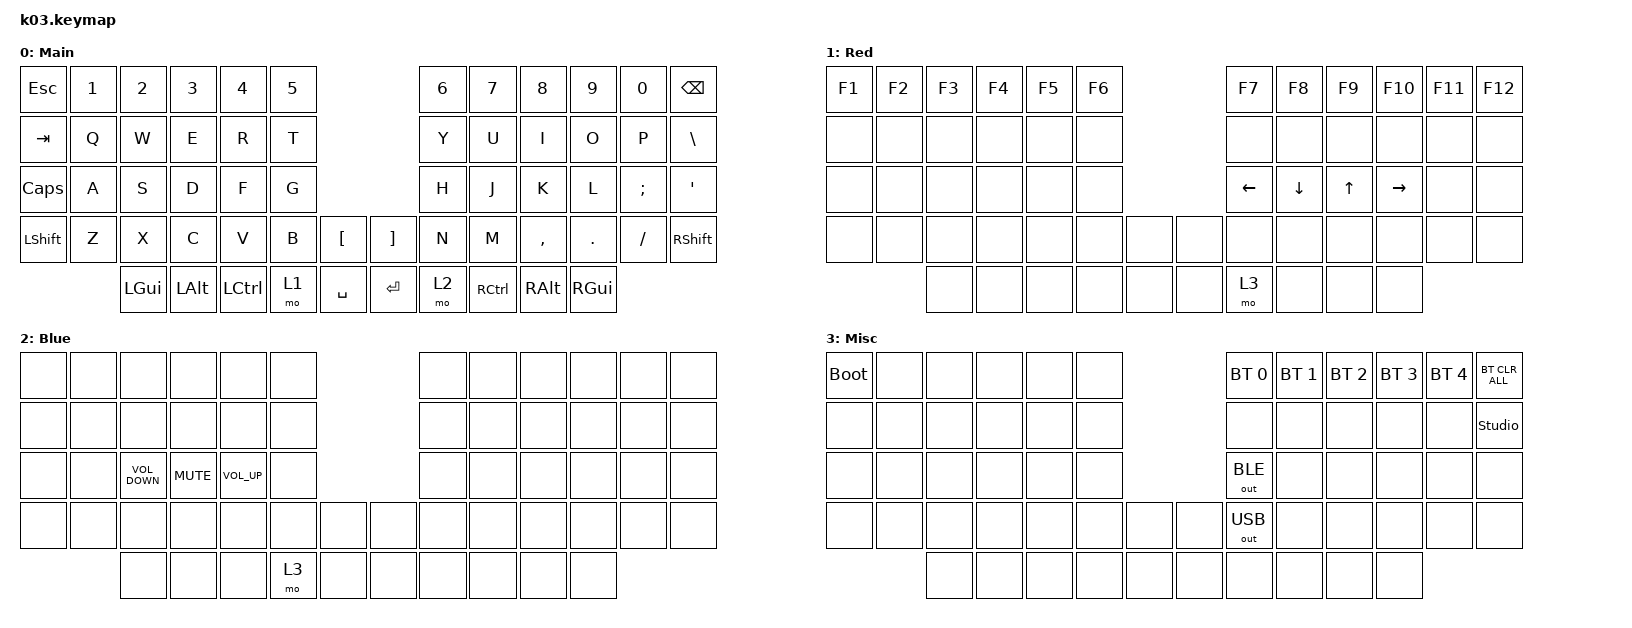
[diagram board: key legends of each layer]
#include "keys_ru.h"
#include <behaviors.dtsi>
#include <dt-bindings/zmk/bt.h>
#include <dt-bindings/zmk/keys.h>
#include <dt-bindings/zmk/outputs.h>

/ {
    behaviors {
        enc_vol: enc_vol {
            compatible = "zmk,behavior-sensor-rotate";
            label = "ENC_VOL";
            #sensor-binding-cells = <0>;
            bindings = <&kp C_VOL_UP>, <&kp C_VOL_DN>;
        };
    };

    combos {
        compatible = "zmk,combos";

        Delete {
            bindings = <&kp DELETE>;
            key-positions = <10 11>;
        };

        Grave_Accent_and_Tilde {
            bindings = <&kp GRAVE>;
            key-positions = <0 1>;
        };

        Left_Parenthesis {
            bindings = <&kp LPAR>;
            key-positions = <16 17>;
        };

        Right_Parenthesis {
            bindings = <&kp RPAR>;
            key-positions = <18 19>;
        };

        Left_Bracket {
            bindings = <&kp LEFT_BRACKET>;
            key-positions = <28 29>;
        };

        Right_Bracket {
            bindings = <&kp RIGHT_BRACKET>;
            key-positions = <30 31>;
        };

        Left_Brace {
            bindings = <&kp LEFT_BRACE>;
            key-positions = <40 41>;
        };

        Right_Brace {
            bindings = <&kp RIGHT_BRACE>;
            key-positions = <44 45>;
        };

        Minus {
            bindings = <&kp MINUS>;
            key-positions = <15 16>;
        };

        Plus {
            bindings = <&kp PLUS>;
            key-positions = <19 20>;
        };

        Underscore {
            bindings = <&kp UNDERSCORE>;
            key-positions = <15 14>;
        };

        Equal {
            bindings = <&kp EQUAL>;
            key-positions = <20 21>;
        };
    };

    keymap {
        compatible = "zmk,keymap";

        main {
            bindings = <
&kp ESC    &kp N1  &kp N2    &kp N3    &kp N4     &kp N5                          &kp N6  &kp N7     &kp N8     &kp N9    &kp N0    &kp BSPC
&kp TAB    &kp Q   &kp W     &kp E     &kp R      &kp T                           &kp Y   &kp U      &kp I      &kp O     &kp P     &kp BSLH
&kp CAPS   &kp A   &kp S     &kp D     &kp F      &kp G                           &kp H   &kp J      &kp K      &kp L     &kp SEMI  &kp SQT
&kp LSHFT  &kp Z   &kp X     &kp C     &kp V      &kp B   &kp LBKT     &kp RBKT   &kp N   &kp M      &kp COMMA  &kp DOT   &kp FSLH  &kp RSHFT
                   &kp LGUI  &kp LALT  &kp LCTRL  &mo 1   &kp SPACE    &kp ENTER  &mo 2   &kp RCTRL  &kp RALT   &kp RGUI
            >;

            display-name = "Main";
        };

        red {
            bindings = <
&kp F1  &kp F2  &kp F3  &kp F4  &kp F5  &kp F6                  &kp F7    &kp F8    &kp F9  &kp F10    &kp F11  &kp F12
&none   &none   &none   &none   &none   &none                   &none     &none     &none   &none      &none    &none
&none   &none   &none   &none   &none   &none                   &kp LEFT  &kp DOWN  &kp UP  &kp RIGHT  &none    &none
&none   &none   &none   &none   &none   &none   &none    &none  &none     &none     &none   &none      &none    &none
                &none   &none   &none   &none   &none    &none  &mo 3     &none     &none   &none
            >;

            display-name = "Red";
        };

        blue {
            bindings = <
&none  &none  &none              &none       &none            &none                  &none  &none  &none  &none  &none  &none
&none  &none  &none              &none       &none            &none                  &none  &none  &none  &none  &none  &none
&none  &none  &kp C_VOLUME_DOWN  &kp K_MUTE  &kp C_VOLUME_UP  &none                  &none  &none  &none  &none  &none  &none
&none  &none  &none              &none       &none            &none  &none    &none  &none  &none  &none  &none  &none  &none
              &none              &none       &none            &mo 3  &none    &none  &none  &none  &none  &none
            >;

            display-name = "Blue";
        };

        misc {
            bindings = <
&bootloader  &none  &none  &none  &none  &none                  &bt BT_SEL 0  &bt BT_SEL 1  &bt BT_SEL 2  &bt BT_SEL 3  &bt BT_SEL 4  &bt BT_CLR_ALL
&none        &none  &none  &none  &none  &none                  &none         &none         &none         &none         &none         &studio_unlock
&none        &none  &none  &none  &none  &none                  &out OUT_BLE  &none         &none         &none         &none         &none
&none        &none  &none  &none  &none  &none  &none    &none  &out OUT_USB  &none         &none         &none         &none         &none
                    &none  &none  &none  &none  &none    &none  &none         &none         &none         &none
            >;

            display-name = "Misc";
        };
    };
};
